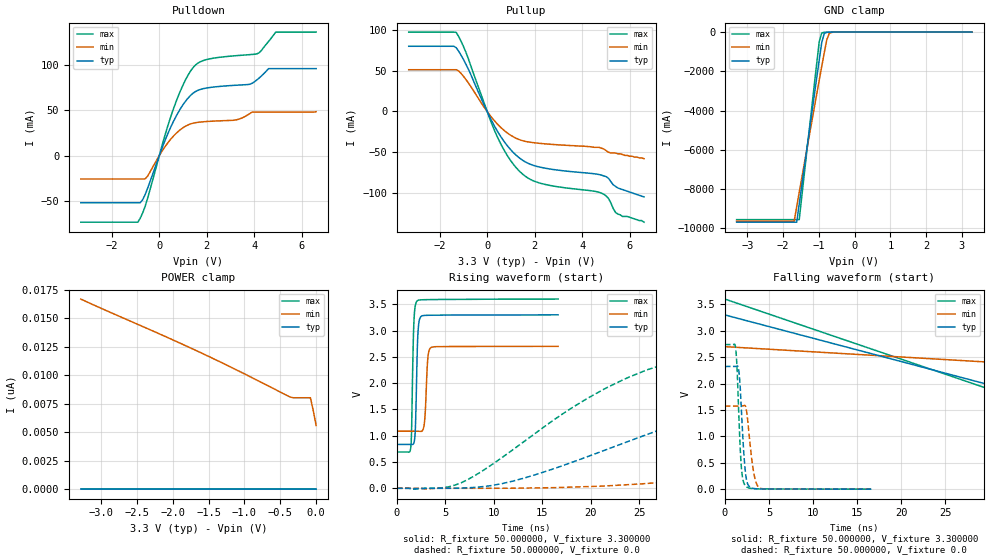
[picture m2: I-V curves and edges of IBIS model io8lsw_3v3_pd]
| [Disclaimer]  This information is for modeling purpose only and is
| not guaranteed.
| The information is subject to change without notice.
| [Copyright] Copyright 2018 STMicroelectronics Inc.
| From stm32l433_lqfp64_p.ibs, stm32l433_lqfp64_p, STMicroelectronics
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|   Model io8lsw_3v3_pd
[Model]  io8lsw_3v3_pd
Model_type I/O
Polarity   Non-Inverting
Enable   Active-Low
Vinl =   0.990000V
Vinh =   2.310000V
Vmeas =  1.650000V
Cref =   100.000000nF
Rref =   1.000000k
Vref =   3.300000V
C_comp   3.002600pF   2.845500pF   3.023700pF
[Temperature Range]   25.000000   0.125000k   -40.000000
[Pullup Reference]   3.300000V   2.700000V   3.600000V
[Pulldown Reference]   0.0V   0.0V   0.0V
[POWER Clamp Reference]   3.300000V   2.700000V   3.600000V
[GND Clamp Reference]   0.0V   0.0V   0.0V
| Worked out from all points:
|   slope of the pulldown table from 0 to 0.495 V, typ, clamps not added: 15.4 ohm
|   slope of the pullup table from 0 to 0.495 V, typ, clamps not added: 18.1 ohm
|   GND clamp passes 1 mA (typ) near -0.58 V on its own axis
|   rising waveform, R_fixture 50.000000, V_fixture 3.300000: 20-80 % time 195ps typ, 237ps min, 192ps max; typ from 0.835 V to 3.3 V
|   rising waveform, R_fixture 50.000000, V_fixture 0.0: 20-80 % time 24ns typ, 53.4ns min, 14.4ns max; typ from 0 V to 2.32 V
|   falling waveform, R_fixture 50.000000, V_fixture 3.300000: 20-80 % time 33.5ns typ, 61.1ns min, 30.7ns max; typ from 3.3 V to 0.835 V
|   falling waveform, R_fixture 50.000000, V_fixture 0.0: 20-80 % time 484ps typ, 657ps min, 409ps max; typ from 2.32 V to 0 V
[Pulldown]
|Voltage   I(typ)   I(min)   I(max)
-3.3V     -51.63mA   -25.53mA   -73.04mA
-900mV    -51.63mA   -25.53mA   -73.04mA
-500mV    -36.51mA   -22.79mA   -47.71mA
200mV     14.02mA    8.316mA    18.9mA
700mV     42.99mA    24.4mA     58.9mA
1.2V      63.06mA    33.8mA     88.14mA
1.6V      71.63mA    36.67mA    101.4mA
3.2V      77.51mA    39.29mA    110mA
4.1V      83.27mA    47.97mA    111.9mA
4.6V      95.8mA     47.97mA    125.7mA
4.9V      95.8mA     47.97mA    136mA
6.6V      95.8mA     48.43mA    136mA
[Pullup]
|Voltage   I(typ)   I(min)   I(max)
-3.3V     80.14mA    51.31mA    97.55mA
-1.3V     78.3mA     51.31mA    97.1mA
-900mV    58.48mA    39.59mA    73.21mA
100mV     -6.166mA   -3.962mA   -8.038mA
500mV     -27.53mA   -17.49mA   -35.6mA
1V        -47.29mA   -29.38mA   -60.81mA
1.5V      -60.05mA   -35.95mA   -77.15mA
2.4V      -69.45mA   -39.66mA   -89.34mA
4.8V      -78.1mA    -45mA      -100.2mA
5.1V      -82mA      -50mA      -106.7mA
5.5V      -94mA      -52mA      -126mA
6.6V      -105mA     -58mA      -136mA
[GND_clamp]
|Voltage   I(typ)   I(min)   I(max)
-3.3V     -9.687A    -9.633A    -9.557A
-1.69V    -9.687A    -9.633A    -9.557A
-1.62V    -9.687A    -8.894A    -9.557A
-1.55V    -8.764A    -8.167A    -9.557A
-1.13V    -3.236A    -3.867A    -2.713A
-990mV    -1.417A    -2.448A    -480.2mA
-920mV    -530mA     -1.746A    -39.97mA
-850mV    -62.37mA   -1.055A    -14.05mA
-780mV    -12.06mA   -390.4mA   -9.024mA
-710mV    -4.91mA    -69.1mA    -5.331mA
-640mV    -2.318mA   -14.6mA    -2.508mA
3.28V     87.11uA    88.99uA    71.58uA
[POWER_clamp]
|Voltage   I(typ)   I(min)   I(max)
-3.28V    0A         16.68nA    0A
-1.64V    0A         12.07nA    0A
-1.08V    0A         10.37nA    0A
-360mV    0A         8.078nA    0A
-320mV    0A         8.02nA     0A
-80mV     0A         8.02nA     0A
-40mV     0A         6.883nA    0A
0V        0A         5.582nA    0A
[Ramp]
| variable   typ   min   max
dV/dt_r  1.39404/23.92719n   0.94392/53.44857n   1.64256/14.36828n
dV/dt_f  1.47854/21.18525n   0.96612/44.48197n   1.74568/13.69982n
R_load = 50.000000
[Rising Waveform]
R_fixture= 50.000000
V_fixture= 3.300000
V_fixture_min= 2.700000
V_fixture_max= 3.600000
|time   V(typ)   V(min)   V(max)
0s        834.7mV    1.086V     689.8mV
1.435ns   834.1mV    1.086V     787.5mV
1.735ns   856.7mV    1.086V     3.1V
1.902ns   1.143V     1.086V     3.483V
2.102ns   2.664V     1.085V     3.567V
2.302ns   3.194V     1.084V     3.581V
2.803ns   3.287V     1.206V     3.587V
3.17ns    3.29V      2.444V     3.588V
3.504ns   3.292V     2.676V     3.589V
16.62ns   3.299V     2.699V     3.599V
[Rising Waveform]
R_fixture= 50.000000
V_fixture= 0.0
V_fixture_min= 0.0
V_fixture_max= 0.0
|time   V(typ)   V(min)   V(max)
0s        3.854nV    95.34nV    3.47nV
6.607ns   3.498mV    -136.4uV   103.2mV
13.21ns   199.4mV    4.589mV    903.6mV
19.82ns   613.5mV    32.98mV    1.729V
25.83ns   1.026V     92.5mV     2.256V
40.84ns   1.832V     359.8mV    2.636V
63.06ns   2.215V     821.3mV    2.719V
91.29ns   2.298V     1.251V     2.735V
117.1ns   2.315V     1.44V      2.737V
299.1ns   2.323V     1.574V     2.738V
[Falling Waveform]
R_fixture= 50.000000
V_fixture= 3.300000
V_fixture_min= 2.700000
V_fixture_max= 3.600000
|time   V(typ)   V(min)   V(max)
0s        3.299V     2.699V     3.599V
50.05ns   1.09V      2.208V     752.5mV
100.1ns   862.8mV    1.297V     694.3mV
150.2ns   839.5mV    1.145V     690.3mV
200.2ns   835.7mV    1.106V     689.8mV
300.3ns   834.7mV    1.089V     689.8mV
4.955us   834.7mV    1.086V     689.8mV
[Falling Waveform]
R_fixture= 50.000000
V_fixture= 0.0
V_fixture_min= 0.0
V_fixture_max= 0.0
|time   V(typ)   V(min)   V(max)
0s        2.323V     1.574V     2.738V
1.201ns   2.323V     1.574V     2.695V
1.368ns   2.329V     1.574V     2.339V
1.568ns   2.263V     1.574V     1.468V
1.869ns   1.524V     1.573V     421.9mV
2.135ns   715.4mV    1.581V     127.4mV
2.369ns   270.5mV    1.555V     57.52mV
3.237ns   13.79mV    350.3mV    9.325mV
3.837ns   5.352mV    34.81mV    5.535mV
16.62ns   3.854nV    95.34nV    3.47nV
